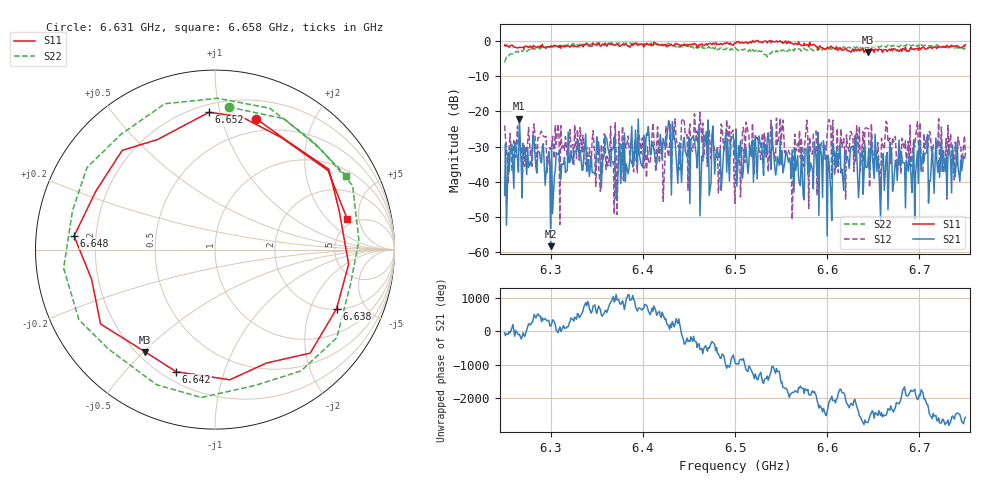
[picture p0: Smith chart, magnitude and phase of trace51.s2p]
# Hz S RI R 50
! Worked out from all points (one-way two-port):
!   401 points, 6.25 GHz to 6.75 GHz, reference 50 ohm
!   highest |S21| = -22.06 dB at 6.266 GHz (marker M1); lowest = -58.3 dB at 6.3 GHz (marker M2)
!   lowest |S11| = -3.2 dB at 6.644 GHz (marker M3), VSWR 5.45, Z = 11.6 - j25.3 ohm
!   |S11| at or under -10 dB: nowhere
!   |S22| runs from -6.1 to -0.3 dB; largest |S21 - S12| = 0.13
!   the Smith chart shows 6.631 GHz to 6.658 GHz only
!   S11 on the Smith chart (normalised r, x): 6.631 GHz: 0.37, +1.29; 6.638 GHz: 2.04, -3.10; 6.642 GHz: 0.25, -0.70; 6.648 GHz: 0.12, +0.05; 6.652 GHz: 0.25, +0.93; 6.658 GHz: 4.33, +3.47
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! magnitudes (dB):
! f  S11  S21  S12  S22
! 6.25 GHz  -1.0  -43.9  -24.0  -6.1
! 6.266 GHz  -1.7  -22.1  -29.1  -2.8
! 6.3 GHz  -1.3  -58.3  -30.8  -1.6
! 6.334 GHz  -1.0  -36.7  -31.5  -0.7
! 6.37 GHz  -1.1  -36.8  -23.2  -0.6
! 6.418 GHz  -1.0  -29.6  -34.7  -1.0
! 6.445 GHz  -0.8  -27.4  -23.0  -1.2
! 6.481 GHz  -0.9  -31.7  -29.9  -2.4
! 6.491 GHz  -0.4  -37.2  -22.4  -2.0
! 6.5 GHz  -0.5  -33.1  -46.1  -1.8
! 6.584 GHz  -1.1  -36.3  -32.1  -2.5
! 6.602 GHz  -2.1  -34.4  -22.3  -2.1
! 6.609 GHz  -2.3  -36.5  -32.2  -2.3
! 6.631 GHz  -2.3  -26.6  -34.2  -2.0
! 6.638 GHz  -2.5  -31.0  -29.7  -2.2
! 6.642 GHz  -2.9  -35.9  -24.6  -1.6
! 6.644 GHz  -3.2  -35.7  -24.9  -1.7
! 6.648 GHz  -2.1  -27.5  -23.5  -1.4
! 6.652 GHz  -2.3  -26.4  -31.3  -1.3
! 6.658 GHz  -2.4  -50.7  -44.3  -1.5
! 6.668 GHz  -2.3  -28.7  -27.5  -1.6
! 6.75 GHz  -1.0  -32.4  -32.4  -2.4
